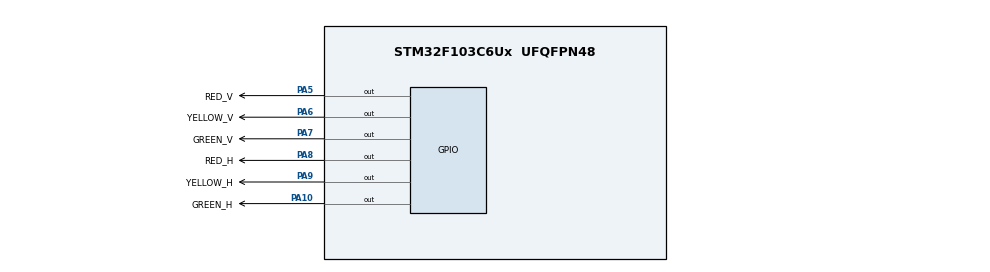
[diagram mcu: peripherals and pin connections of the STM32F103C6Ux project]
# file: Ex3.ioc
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Mcu.Family=STM32F1
Mcu.Name=STM32F103C6Ux
Mcu.Package=UFQFPN48
NVIC.PriorityGroup=NVIC_PRIORITYGROUP_4
PA10.GPIO_Label=GREEN_H
PA10.Signal=GPIO_Output
PA5.GPIO_Label=RED_V
PA5.Signal=GPIO_Output
PA6.GPIO_Label=YELLOW_V
PA6.Signal=GPIO_Output
PA7.GPIO_Label=GREEN_V
PA7.Signal=GPIO_Output
PA8.GPIO_Label=RED_H
PA8.Signal=GPIO_Output
PA9.GPIO_Label=YELLOW_H
PA9.Signal=GPIO_Output
ProjectManager.HeapSize=0x200
ProjectManager.StackSize=0x400
ProjectManager.TargetToolchain=STM32CubeIDE
RCC.APB1Freq_Value=8000000
RCC.APB2Freq_Value=8000000
VP_SYS_VS_ND.Mode=No_Debug
board=custom

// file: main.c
/* USER CODE BEGIN Header */
/**
  ******************************************************************************
  * @file           : main.c
  * @brief          : Main program body
  ******************************************************************************
  * @attention
  *
  * <h2><center>&copy; Copyright (c) 2026 STMicroelectronics.
  * All rights reserved.</center></h2>
  *
  * This software component is licensed by ST under BSD 3-Clause license,
  * the "License"; You may not use this file except in compliance with the
  * License. You may obtain a copy of the License at:
  *                        opensource.org/licenses/BSD-3-Clause
  *
  ******************************************************************************
  */
/* USER CODE END Header */
#include "main.h"

void SystemClock_Config(void);
static void MX_GPIO_Init(void);

int main(void)
{

  /* MCU Configuration--------------------------------------------------------*/

  /* Reset of all peripherals, Initializes the Flash interface and the Systick. */
  HAL_Init();

  /* Configure the system clock */
  SystemClock_Config();

  /* Initialize all configured peripherals */
  MX_GPIO_Init();

  /* Infinite loop */
  while (1)
    {

      /* USER CODE BEGIN 3 */
          // 3s: ngang xanh, doc do
          HAL_GPIO_WritePin(RED_H_GPIO_Port, RED_H_Pin, GPIO_PIN_RESET);
          HAL_GPIO_WritePin(YELLOW_H_GPIO_Port, YELLOW_H_Pin, GPIO_PIN_RESET);
          HAL_GPIO_WritePin(GREEN_H_GPIO_Port, GREEN_H_Pin, GPIO_PIN_SET);
          // Doc do
          HAL_GPIO_WritePin(RED_V_GPIO_Port, RED_V_Pin, GPIO_PIN_SET);
          HAL_GPIO_WritePin(YELLOW_V_GPIO_Port, YELLOW_V_Pin, GPIO_PIN_RESET);
          HAL_GPIO_WritePin(GREEN_V_GPIO_Port, GREEN_V_Pin, GPIO_PIN_RESET);
          HAL_Delay(3000);

          // 2s: ngang vang, doc do
          HAL_GPIO_WritePin(YELLOW_H_GPIO_Port, YELLOW_H_Pin, GPIO_PIN_SET);
          HAL_GPIO_WritePin(GREEN_H_GPIO_Port, GREEN_H_Pin, GPIO_PIN_RESET);
          HAL_Delay(2000);

          // 3s: ngang do, doc xanh
          HAL_GPIO_WritePin(RED_H_GPIO_Port, RED_H_Pin, GPIO_PIN_SET);
          HAL_GPIO_WritePin(YELLOW_H_GPIO_Port, YELLOW_H_Pin, GPIO_PIN_RESET);
          HAL_GPIO_WritePin(RED_V_GPIO_Port, RED_V_Pin, GPIO_PIN_RESET);
          HAL_GPIO_WritePin(GREEN_V_GPIO_Port, GREEN_V_Pin, GPIO_PIN_SET);
          HAL_Delay(3000);

          // 2s: ngang do, doc vang
          HAL_GPIO_WritePin(YELLOW_V_GPIO_Port, YELLOW_V_Pin, GPIO_PIN_SET);
          HAL_GPIO_WritePin(GREEN_V_GPIO_Port, GREEN_V_Pin, GPIO_PIN_RESET);
          HAL_Delay(2000);

    }
    /* USER CODE END 3 */
}

void SystemClock_Config(void)
{
  RCC_OscInitTypeDef RCC_OscInitStruct = {0};
  RCC_ClkInitTypeDef RCC_ClkInitStruct = {0};

  /** Initializes the RCC Oscillators according to the specified parameters
  * in the RCC_OscInitTypeDef structure.
  */
  RCC_OscInitStruct.OscillatorType = RCC_OSCILLATORTYPE_HSI;
  RCC_OscInitStruct.HSIState = RCC_HSI_ON;
  RCC_OscInitStruct.HSICalibrationValue = RCC_HSICALIBRATION_DEFAULT;
  RCC_OscInitStruct.PLL.PLLState = RCC_PLL_NONE;
  if (HAL_RCC_OscConfig(&RCC_OscInitStruct) != HAL_OK)
  {
    Error_Handler();
  }
  /** Initializes the CPU, AHB and APB buses clocks
  */
  RCC_ClkInitStruct.ClockType = RCC_CLOCKTYPE_HCLK|RCC_CLOCKTYPE_SYSCLK
                              |RCC_CLOCKTYPE_PCLK1|RCC_CLOCKTYPE_PCLK2;
  RCC_ClkInitStruct.SYSCLKSource = RCC_SYSCLKSOURCE_HSI;
  RCC_ClkInitStruct.AHBCLKDivider = RCC_SYSCLK_DIV1;
  RCC_ClkInitStruct.APB1CLKDivider = RCC_HCLK_DIV1;
  RCC_ClkInitStruct.APB2CLKDivider = RCC_HCLK_DIV1;

  if (HAL_RCC_ClockConfig(&RCC_ClkInitStruct, FLASH_LATENCY_0) != HAL_OK)
  {
    Error_Handler();
  }
}

static void MX_GPIO_Init(void)
{
  GPIO_InitTypeDef GPIO_InitStruct = {0};

  /* GPIO Ports Clock Enable */
  __HAL_RCC_GPIOA_CLK_ENABLE();

  /*Configure GPIO pin Output Level */
  HAL_GPIO_WritePin(GPIOA, RED_V_Pin|YELLOW_V_Pin|GREEN_V_Pin|RED_H_Pin
                          |YELLOW_H_Pin|GREEN_H_Pin, GPIO_PIN_RESET);

  /*Configure GPIO pins : RED_V_Pin YELLOW_V_Pin GREEN_V_Pin RED_H_Pin
                           YELLOW_H_Pin GREEN_H_Pin */
  GPIO_InitStruct.Pin = RED_V_Pin|YELLOW_V_Pin|GREEN_V_Pin|RED_H_Pin
                          |YELLOW_H_Pin|GREEN_H_Pin;
  GPIO_InitStruct.Mode = GPIO_MODE_OUTPUT_PP;
  GPIO_InitStruct.Pull = GPIO_NOPULL;
  GPIO_InitStruct.Speed = GPIO_SPEED_FREQ_LOW;
  HAL_GPIO_Init(GPIOA, &GPIO_InitStruct);

}

void Error_Handler(void)
{
  __disable_irq();
  while (1)
  {
  }
}

/************************ (C) COPYRIGHT STMicroelectronics *****END OF FILE****/
